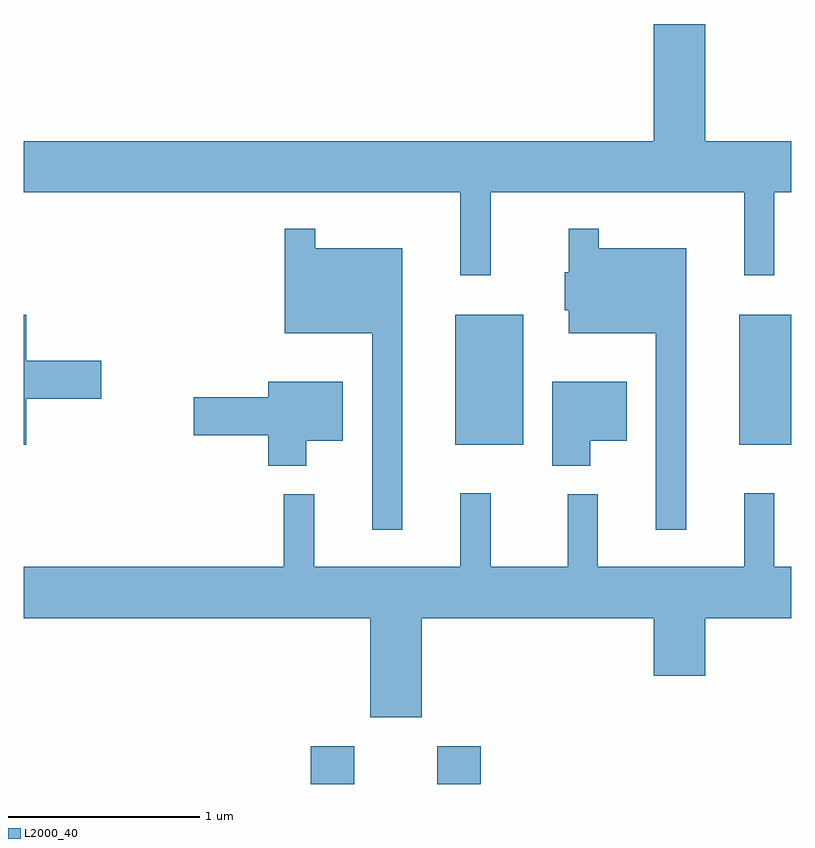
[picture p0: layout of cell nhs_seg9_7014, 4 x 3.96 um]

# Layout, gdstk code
import gdstk
lib = gdstk.Library(unit=1e-6, precision=1e-09)
def R(c, l, rs):  # rectangles x0, y0, x1, y1
    for r in rs: c.add(gdstk.rectangle(r[:2], r[2:], *l))
def P(c, l, *ps):  # polygons
    for p in ps: c.add(gdstk.Polygon(p, *l))
L2000_40 = (2000, 40)

nhs_seg9_7014 = lib.new_cell('nhs_seg9_7014')
R(nhs_seg9_7014, L2000_40, [(393.106,2066.432,393.334,2066.629), (393.766,2066.432,393.994,2066.629), (393.861,2068.201,394.214,2068.879), (395.341,2068.201,395.611,2068.879)])
P(nhs_seg9_7014, L2000_40, [(394.044,2069.516),(395.366,2069.516),(395.366,2069.083),(395.524,2069.083),(395.524,2069.516),(395.611,2069.516),(395.611,2069.784),(395.164,2069.784),(395.164,2070.394),(394.896,2070.394),(394.896,2069.784),(391.611,2069.784),(391.611,2069.516),(393.886,2069.516),(393.886,2069.083),(394.044,2069.083)],
  [(395.064,2069.224),(394.609,2069.224),(394.609,2069.327),(394.451,2069.327),(394.451,2069.099),(394.431,2069.099),(394.431,2068.901),(394.451,2068.901),(394.451,2068.781),(394.906,2068.781),(394.906,2067.758),(395.064,2067.758)],
  [(393.584,2069.224),(393.129,2069.224),(393.129,2069.327),(392.971,2069.327),(392.971,2068.781),(393.426,2068.781),(393.426,2067.758),(393.584,2067.758)],
  [(391.624,2068.441),(392.014,2068.441),(392.014,2068.639),(391.624,2068.639),(391.624,2068.879),(391.611,2068.879),(391.611,2068.201),(391.624,2068.201)],
  [(394.564,2068.221),(394.754,2068.221),(394.754,2068.529),(394.366,2068.529),(394.366,2068.091),(394.564,2068.091)],
  [(393.084,2068.221),(393.274,2068.221),(393.274,2068.529),(392.886,2068.529),(392.886,2068.449),(392.496,2068.449),(392.496,2068.251),(392.886,2068.251),(392.886,2068.091),(393.084,2068.091)],
  [(393.684,2067.296),(394.896,2067.296),(394.896,2066.996),(395.164,2066.996),(395.164,2067.296),(395.611,2067.296),(395.611,2067.564),(395.524,2067.564),(395.524,2067.948),(395.366,2067.948),(395.366,2067.564),(394.604,2067.564),(394.604,2067.943),(394.446,2067.943),(394.446,2067.564),(394.044,2067.564),(394.044,2067.948),(393.886,2067.948),(393.886,2067.564),(393.124,2067.564),(393.124,2067.943),(392.966,2067.943),(392.966,2067.564),(391.611,2067.564),(391.611,2067.296),(393.416,2067.296),(393.416,2066.781),(393.684,2066.781)])

lib.write_gds('nhs_seg9_7014.gds')
